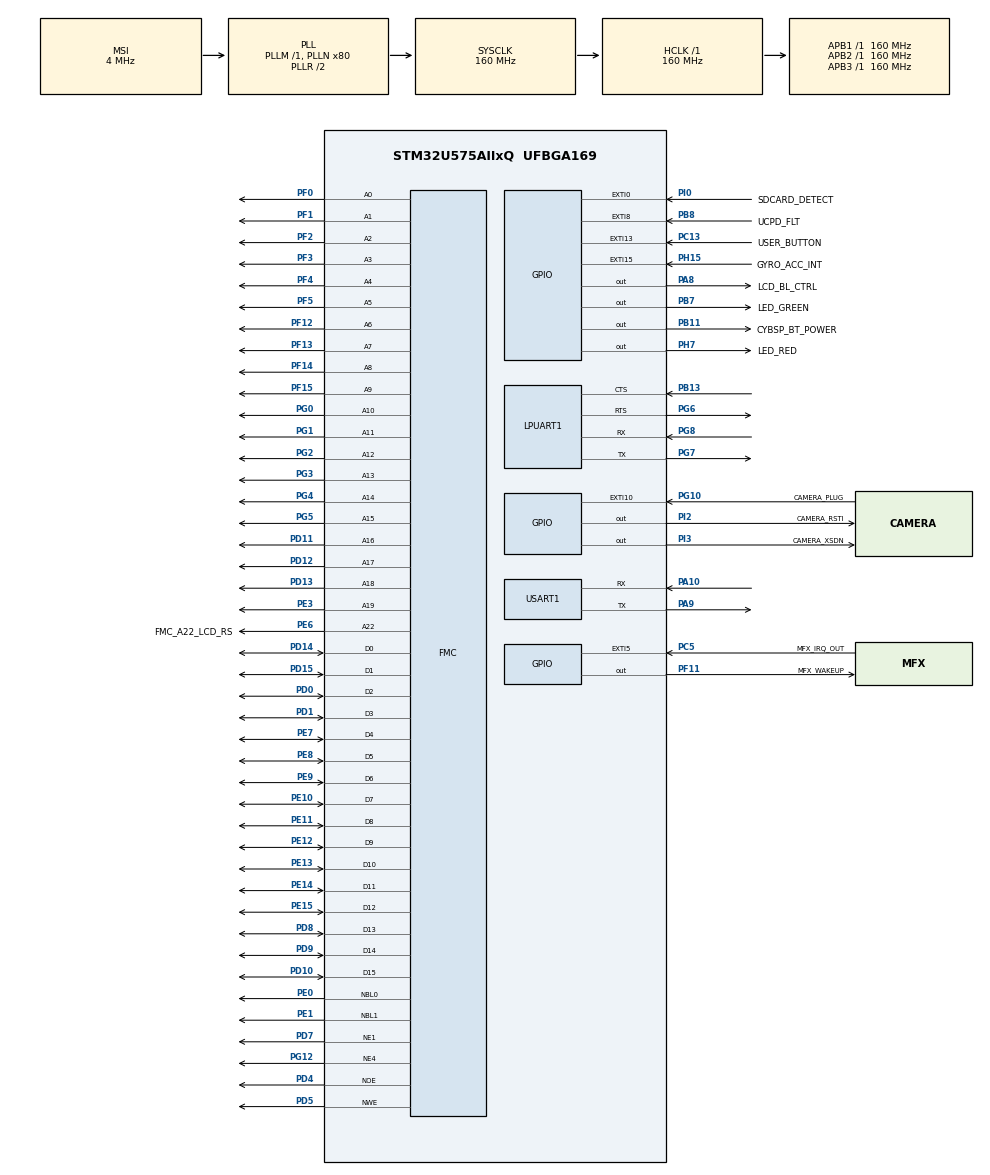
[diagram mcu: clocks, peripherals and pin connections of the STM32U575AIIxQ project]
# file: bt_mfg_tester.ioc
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CORTEX_M33_NS.userName=CORTEX_M33
GPDMA1.DESTINC_GPDMACH14=DMA_DINC_INCREMENTED
GPDMA1.DIRECTION_GPDMACH15=DMA_MEMORY_TO_PERIPH
GPDMA1.IPHANDLE_GPDMACH14-SIMPLEREQUEST_GPDMACH14=__NULL
GPDMA1.IPHANDLE_GPDMACH15-SIMPLEREQUEST_GPDMACH15=__NULL
GPDMA1.REQUEST_GPDMACH14=GPDMA1_REQUEST_LPUART1_RX
GPDMA1.REQUEST_GPDMACH15=GPDMA1_REQUEST_LPUART1_TX
GPDMA1.SRCINC_GPDMACH15=DMA_SINC_INCREMENTED
Infineon.AIROC-Wi-Fi-Bluetooth-STM32.1.8.0.CYBSP_BT_POWER=PB11
Infineon.AIROC-Wi-Fi-Bluetooth-STM32.1.8.0.CYBSP_BT_UART_CTS=PB13
Infineon.AIROC-Wi-Fi-Bluetooth-STM32.1.8.0.CYBSP_BT_UART_RTS=PG6
Infineon.AIROC-Wi-Fi-Bluetooth-STM32.1.8.0.CYBSP_BT_UART_RX=PG8
Infineon.AIROC-Wi-Fi-Bluetooth-STM32.1.8.0.CYBSP_BT_UART_TX=PG1
Infineon.AIROC-Wi-Fi-Bluetooth-STM32.1.8.0.ConnectivityCcWirelessJjBluetoothJjbtstack=BLEIiHARDFP
Infineon.AIROC-Wi-Fi-Bluetooth-STM32.1.8.0.ConnectivityCcWirelessJjBluetoothJjbtstackAaintegration=true
Infineon.AIROC-Wi-Fi-Bluetooth-STM32.1.8.0.ConnectivityCcWirelessJjPlatformJjabstractionAartos=FreeRTOS
Infineon.AIROC-Wi-Fi-Bluetooth-STM32.1.8.0.ConnectivityCcWirelessJjPlatformJjdevice=CYW43012
Infineon.AIROC-Wi-Fi-Bluetooth-STM32.1.8.0.ConnectivityCcWirelessJjPlatformJjmodule=MURATAAa1LV
Infineon.AIROC-Wi-Fi-Bluetooth-STM32.1.8.0.ConnectivityCcWirelessJjPlatformJjpal=true
Infineon.AIROC-Wi-Fi-Bluetooth-STM32.1.8.0.MiddlewareCcRTOSJjFreeRTOSJjcore=true
Infineon.AIROC-Wi-Fi-Bluetooth-STM32.1.8.0.MiddlewareCcRTOSJjFreeRTOSJjheap=HeapIi4
Mcu.Family=STM32U5
Mcu.Name=STM32U575AIIxQ
Mcu.Package=UFBGA169
NVIC.EXTI15_IRQn=true\:0\:0\:false\:false\:true\:false\:false\:true\:true
NVIC.GPDMA1_Channel14_IRQn=true\:0\:0\:false\:false\:true\:false\:true\:true\:true
NVIC.GPDMA1_Channel15_IRQn=true\:0\:0\:false\:false\:true\:false\:true\:true\:true
NVIC.LPUART1_IRQn=true\:0\:0\:false\:false\:true\:false\:false\:true\:true
NVIC.PriorityGroup=NVIC_PRIORITYGROUP_3
NVIC.TIM1_UP_IRQn=true\:7\:0\:false\:false\:true\:false\:false\:true\:true
NVIC.TimeBase=TIM1_UP_IRQn
NVIC.TimeBaseIP=TIM1
PA0.GPIO_Label=IBUS_SENSE
PA0.Signal=ADC1_IN5
PA1.PinAttribute=Free
PA1.Signal=TAMP_IN5
PA10.Mode=Asynchronous
PA10.Signal=USART1_RX
PA11.Signal=USB_OTG_FS_DM
PA12.Signal=USB_OTG_FS_DP
PA13\ (JTMS/SWDIO).Mode=Serial_Wire
PA13\ (JTMS/SWDIO).Signal=DEBUG_JTMS-SWDIO
PA14\ (JTCK/SWCLK).Mode=Serial_Wire
PA14\ (JTCK/SWCLK).Signal=DEBUG_JTCK-SWCLK
PA15\ (JTDI).PinAttribute=Free
PA15\ (JTDI).Signal=UCPD1_CC1
PA2.Signal=OCTOSPIM_P1_NCS
PA3.Signal=OCTOSPIM_P1_CLK
PA5.GPIO_Label=VBUS_SENSE
PA5.Signal=ADC1_IN10
PA6.Signal=OCTOSPIM_P1_IO3
PA7.Signal=OCTOSPIM_P1_IO2
PA8.GPIO_Label=LCD_BL_CTRL
PA8.Signal=GPIO_Output
PA9.Mode=Asynchronous
PA9.Signal=USART1_TX
PB0.PinAttribute=Free
PB0.Signal=OCTOSPIM_P1_IO1
PB1.Signal=OCTOSPIM_P1_IO0
PB10.GPIO_PuPdOD=GPIO_NOPULL
PB10.PinAttribute=Free
PB10.Signal=I2C2_SCL
PB11.GPIO_Label=CYBSP_BT_POWER
PB11.Signal=GPIO_Output
PB12.Signal=USART3_CK
PB13.Mode=CTS_RTS
PB13.Signal=LPUART1_CTS
PB14.Signal=TSC_G1_IO3
PB15.Signal=UCPD1_CC2
PB2.Signal=OCTOSPIM_P1_DQS
PB3\ (JTDO/TRACESWO).Signal=ADF1_CCK0
PB4\ (NJTRST).PinAttribute=Free
PB4\ (NJTRST).Signal=ADF1_SDI0
PB6.PinAttribute=Free
PB6.Signal=MDF1_SDI5
PB7.GPIO_Label=LED_GREEN
PB7.GPIO_Speed=GPIO_SPEED_FREQ_HIGH
PB7.Signal=GPIO_Output
PB8.GPIO_Label=UCPD_FLT
PB8.Signal=GPXTI8
PC0.PinAttribute=Free
PC0.Signal=OCTOSPIM_P1_IO7
PC1.Signal=OCTOSPIM_P1_IO4
PC10.Signal=SDMMC1_D2
PC11.PinAttribute=Free
PC11.Signal=SDMMC1_D3
PC12.Signal=SDMMC1_CK
PC13.GPIO_Label=USER_BUTTON
PC13.Signal=GPXTI13
PC14-OSC32_IN\ (PC14).Mode=LSE-External-Oscillator
PC14-OSC32_IN\ (PC14).Signal=RCC_OSC32_IN
PC15-OSC32_OUT\ (PC15).Mode=LSE-External-Oscillator
PC15-OSC32_OUT\ (PC15).Signal=RCC_OSC32_OUT
PC2.Signal=OCTOSPIM_P1_IO5
PC3.Signal=OCTOSPIM_P1_IO6
PC4.Signal=USART3_TX
PC5.GPIO_Label=MFX_IRQ_OUT
PC5.Signal=GPXTI5
PC6.PinAttribute=Free
PC6.Signal=TSC_G4_IO1
PC7.Signal=TSC_G4_IO2
PC8.Signal=SDMMC1_D0
PC9.Signal=SDMMC1_D1
PD0.Signal=FMC_D2_DA2
PD1.Signal=FMC_D3_DA3
PD10.PinAttribute=Free
PD10.Signal=FMC_D15_DA15
PD11.Signal=FMC_A16_CLE
PD12.PinAttribute=Free
PD12.Signal=FMC_A17_ALE
PD13.PinAttribute=Free
PD13.Signal=FMC_A18
PD14.Signal=FMC_D0_DA0
PD15.Signal=FMC_D1_DA1
PD2.Signal=SDMMC1_CMD
PD3.Signal=MDF1_SDI0
PD4.PinAttribute=Free
PD4.Signal=FMC_NOE
PD5.Signal=FMC_NWE
PD6.Signal=SAI1_SD_A
PD7.Mode=NorPsramChipSelect1_1
PD7.Signal=FMC_NE1
PD8.Signal=FMC_D13_DA13
PD9.Signal=FMC_D14_DA14
PE0.Signal=FMC_NBL0
PE1.Signal=FMC_NBL1
PE10.Signal=FMC_D7_DA7
PE11.Signal=FMC_D8_DA8
PE12.Signal=FMC_D9_DA9
PE13.Signal=FMC_D10_DA10
PE14.PinAttribute=Free
PE14.Signal=FMC_D11_DA11
PE15.Signal=FMC_D12_DA12
PE3.Signal=FMC_A19
PE4.Signal=MDF1_SDI3
PE6.GPIO_Label=FMC_A22_LCD_RS
PE6.Signal=FMC_A22
PE7.Signal=FMC_D4_DA4
PE8.PinAttribute=Free
PE8.Signal=FMC_D5_DA5
PE9.Signal=FMC_D6_DA6
PF0.Signal=FMC_A0
PF1.Signal=FMC_A1
PF10.Signal=MDF1_CCK1
PF11.GPIO_Label=MFX_WAKEUP
PF11.Signal=GPIO_Output
PF12.PinAttribute=Free
PF12.Signal=FMC_A6
PF13.Signal=FMC_A7
PF14.Signal=FMC_A8
PF15.Signal=FMC_A9
PF2.Signal=FMC_A2
PF3.PinAttribute=Free
PF3.Signal=FMC_A3
PF4.Signal=FMC_A4
PF5.PinAttribute=Free
PF5.Signal=FMC_A5
PF7.GPIO_Speed=GPIO_SPEED_FREQ_MEDIUM
PF7.PinAttribute=Free
PF7.Signal=SAI1_MCLK_B
PG0.Signal=FMC_A10
PG1.Signal=FMC_A11
PG10.GPIO_Label=CAMERA_PLUG
PG10.Signal=GPXTI10
PG12.Mode=NorPsramChipSelect4_2
PG12.Signal=FMC_NE4
PG2.PinAttribute=Free
PG2.Signal=FMC_A12
PG3.Signal=FMC_A13
PG4.PinAttribute=Free
PG4.Signal=FMC_A14
PG5.Signal=FMC_A15
PG6.Mode=CTS_RTS
PG6.Signal=LPUART1_RTS
PG7.Mode=Asynchronous
PG7.Signal=LPUART1_TX
PG8.Mode=Asynchronous
PG8.Signal=LPUART1_RX
PH0-OSC_IN\ (PH0).Mode=HSE-External-Oscillator
PH0-OSC_IN\ (PH0).Signal=RCC_OSC_IN
PH1-OSC_OUT\ (PH1).Mode=HSE-External-Oscillator
PH1-OSC_OUT\ (PH1).PinAttribute=Free
PH1-OSC_OUT\ (PH1).Signal=RCC_OSC_OUT
PH10.Signal=DCMI_D1
PH11.Signal=DCMI_D2
PH12.Signal=DCMI_D3
PH14.Signal=DCMI_D4
PH15.GPIO_Label=GYRO_ACC_INT
PH15.Signal=GPXTI15
PH5.Signal=DCMI_PIXCLK
PH7.GPIO_Label=LED_RED
PH7.GPIO_Speed=GPIO_SPEED_FREQ_HIGH
PH7.Signal=GPIO_Output
PH8.Signal=DCMI_HSYNC
PH9.Signal=DCMI_D0
PI0.GPIO_Label=SDCARD_DETECT
PI0.Signal=GPXTI0
PI2.GPIO_Label=CAMERA_RSTI
PI2.GPIO_Speed=GPIO_SPEED_FREQ_HIGH
PI2.Signal=GPIO_Output
PI3.GPIO_Label=CAMERA_XSDN
PI3.GPIO_Speed=GPIO_SPEED_FREQ_HIGH
PI3.Signal=GPIO_Output
PI4.Signal=DCMI_D5
PI5.PinAttribute=Free
PI5.Signal=DCMI_VSYNC
PI6.Signal=DCMI_D6
PI7.Signal=DCMI_D7
PWR.PowerMode=PWR_SMPS_SUPPLY
ProjectManager.HeapSize=0x2000
ProjectManager.StackSize=0x400
ProjectManager.TargetToolchain=STM32CubeIDE
RCC.ADCFreq_Value=16000000
RCC.AHBFreq_Value=160000000
RCC.APB1Freq_Value=160000000
RCC.APB1TimFreq_Value=160000000
RCC.APB2Freq_Value=160000000
RCC.APB2TimFreq_Value=160000000
RCC.APB3Freq_Value=160000000
RCC.CortexFreq_Value=160000000
RCC.DACCLockSelectionVirtual=RCC_DAC1CLKSOURCE_LSI
RCC.EPOD_VALUE=4000000
RCC.HCLKFreq_Value=160000000
RCC.HSE_VALUE=16000000
RCC.HSI48_VALUE=48000000
RCC.HSI_VALUE=16000000
RCC.LSIDIV_VALUE=32000
RCC.MSI_VALUE=4000000
RCC.PLL2FRACN=0
RCC.PLL2N=80
RCC.PLL3N=80
RCC.PLLFRACN=0
RCC.PLLN=80
RCC.SDMMCClockSelection=RCC_SDMMCCLKSOURCE_CLK48
RCC.SYSCLKFreq_VALUE=160000000
RCC.SYSCLKSource=RCC_SYSCLKSOURCE_PLLCLK
RCC.USBFreq_Value=48000000
RCC.VCOOutputFreq_Value=320000000
SH.FMC_A0.0=FMC_A0,20b-a1
SH.FMC_A1.0=FMC_A1,20b-a1
SH.FMC_A10.0=FMC_A10,20b-a1
SH.FMC_A11.0=FMC_A11,20b-a1
SH.FMC_A12.0=FMC_A12,20b-a1
SH.FMC_A13.0=FMC_A13,20b-a1
SH.FMC_A14.0=FMC_A14,20b-a1
SH.FMC_A15.0=FMC_A15,20b-a1
SH.FMC_A16_CLE.0=FMC_A16,20b-a1
SH.FMC_A17_ALE.0=FMC_A17,20b-a1
SH.FMC_A18.0=FMC_A18,20b-a1
SH.FMC_A19.0=FMC_A19,20b-a1
SH.FMC_A2.0=FMC_A2,20b-a1
SH.FMC_A22.0=FMC_A22,A22_2
SH.FMC_A3.0=FMC_A3,20b-a1
SH.FMC_A4.0=FMC_A4,20b-a1
SH.FMC_A5.0=FMC_A5,20b-a1
SH.FMC_A6.0=FMC_A6,20b-a1
SH.FMC_A7.0=FMC_A7,20b-a1
SH.FMC_A8.0=FMC_A8,20b-a1
SH.FMC_A9.0=FMC_A9,20b-a1
SH.FMC_D0_DA0.0=FMC_D0,16b-d1
SH.FMC_D0_DA0.1=FMC_D0,16b-d2
SH.FMC_D10_DA10.0=FMC_D10,16b-d1
SH.FMC_D10_DA10.1=FMC_D10,16b-d2
SH.FMC_D11_DA11.0=FMC_D11,16b-d1
SH.FMC_D11_DA11.1=FMC_D11,16b-d2
SH.FMC_D12_DA12.0=FMC_D12,16b-d1
SH.FMC_D12_DA12.1=FMC_D12,16b-d2
SH.FMC_D13_DA13.0=FMC_D13,16b-d1
SH.FMC_D13_DA13.1=FMC_D13,16b-d2
SH.FMC_D14_DA14.0=FMC_D14,16b-d1
SH.FMC_D14_DA14.1=FMC_D14,16b-d2
SH.FMC_D15_DA15.0=FMC_D15,16b-d1
SH.FMC_D15_DA15.1=FMC_D15,16b-d2
SH.FMC_D1_DA1.0=FMC_D1,16b-d1
SH.FMC_D1_DA1.1=FMC_D1,16b-d2
SH.FMC_D2_DA2.0=FMC_D2,16b-d1
SH.FMC_D2_DA2.1=FMC_D2,16b-d2
SH.FMC_D3_DA3.0=FMC_D3,16b-d1
SH.FMC_D3_DA3.1=FMC_D3,16b-d2
SH.FMC_D4_DA4.0=FMC_D4,16b-d1
SH.FMC_D4_DA4.1=FMC_D4,16b-d2
SH.FMC_D5_DA5.0=FMC_D5,16b-d1
SH.FMC_D5_DA5.1=FMC_D5,16b-d2
SH.FMC_D6_DA6.0=FMC_D6,16b-d1
SH.FMC_D6_DA6.1=FMC_D6,16b-d2
SH.FMC_D7_DA7.0=FMC_D7,16b-d1
SH.FMC_D7_DA7.1=FMC_D7,16b-d2
SH.FMC_D8_DA8.0=FMC_D8,16b-d1
SH.FMC_D8_DA8.1=FMC_D8,16b-d2
SH.FMC_D9_DA9.0=FMC_DA9
SH.FMC_D9_DA9.1=FMC_D9,16b-d1
SH.FMC_D9_DA9.2=FMC_D9,16b-d2
SH.FMC_NBL0.0=FMC_NBL0,2ByteEnable1
SH.FMC_NBL1.0=FMC_NBL1,2ByteEnable1
SH.FMC_NOE.0=FMC_NOE,Sram1
SH.FMC_NOE.1=FMC_NOE,Lcd2
SH.FMC_NWE.0=FMC_NWE,Sram1
SH.FMC_NWE.1=FMC_NWE,Lcd2
USART1.FIFOMode=FIFOMODE_ENABLE
USART1.VirtualMode-Asynchronous=VM_ASYNC
VP_GPDMA1_VS_GPDMACH14.Mode=SIMPLEREQUEST_GPDMACH14
VP_GPDMA1_VS_GPDMACH15.Mode=SIMPLEREQUEST_GPDMACH15
VP_ICACHE_VS_ICACHE.Mode=DirectMappedCache
VP_Infineon.AIROC-Wi-Fi-Bluetooth-STM32_VS_RTOSJjMiddleware_10.3.1_1.8.0.Mode=RTOSJjMiddleware
VP_Infineon.AIROC-Wi-Fi-Bluetooth-STM32_VS_WirelessJjConnectivity_1.8.0_1.8.0.Mode=WirelessJjConnectivity
VP_LPBAMQUEUE_VS_QUEUE.Mode=QUEUEMODE
VP_LPBAM_VS_SIG1.Mode=SmartRun
VP_LPBAM_VS_SIG4.Mode=LPDMA1
VP_PWR_VS_DBSignals.Mode=DisableDeadBatterySignals
VP_PWR_VS_LPOM.Mode=PowerOptimisation
VP_PWR_VS_SECSignals.Mode=Security/Privilege
VP_SYS_VS_tim1.Mode=TIM1
board=STM32U575I-EV

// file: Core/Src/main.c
/* USER CODE BEGIN Header */
/**
  ******************************************************************************
  * @file           : main.c
  * @brief          : Main program body
  ******************************************************************************
  * @attention
  *
  * <h2><center>&copy; Copyright (c) 2021 STMicroelectronics.
  * All rights reserved.</center></h2>
  *
  * This software component is licensed by ST under Ultimate Liberty license
  * SLA0044, the "License"; You may not use this file except in compliance with
  * the License. You may obtain a copy of the License at:
  *                             www.st.com/SLA0044
  *
  ******************************************************************************
  */
/* USER CODE END Header */
#include "main.h"

/* USER CODE BEGIN Includes */
#include "cmsis_os2.h"
#include "cyhal_sdio.h"
#include "stm32_cyhal_sdio_ex.h"
#include "stm32_cyhal_gpio_ex.h"

#include "wifi_bt_if.h"

#include "cybsp.h"
#include "cyhal.h"
#include "cyabs_rtos.h"

#include "wiced_bt_stack.h"
#include "wiced_memory.h"
#include "wiced_bt_dev.h"

#include "cybt_platform_trace.h"

#include "cy_utils.h"
#include "stdio.h"
/* USER CODE END Includes */

/* USER CODE BEGIN PD */
#ifndef HSEM_ID_0
#define HSEM_ID_0 (0U) /* HW semaphore 0*/
#endif
/* USER CODE END PD */

UART_HandleTypeDef hlpuart1;
UART_HandleTypeDef huart1;
DMA_HandleTypeDef handle_GPDMA1_Channel15;
DMA_HandleTypeDef handle_GPDMA1_Channel14;

SRAM_HandleTypeDef hsram1;
SRAM_HandleTypeDef hsram2;

/* USER CODE BEGIN PV */
/* Definitions for bt_mfgtest */
osThreadId_t bt_mfgtestHandle;
const osThreadAttr_t bt_mfgtest_attributes = {
  .name = "bt_mfgtest",
  .priority = (osPriority_t) osPriorityNormal,
  .stack_size = 2048 * 4
};
/* USER CODE END PV */

void SystemClock_Config(void);
static void SystemPower_Config(void);
static void MX_GPIO_Init(void);
static void MX_GPDMA1_Init(void);
static void MX_USART1_UART_Init(void);
static void MX_FMC_Init(void);
static void MX_LPUART1_UART_Init(void);
static void MX_ICACHE_Init(void);
/* USER CODE BEGIN PFP */
void bt_mfgtest_task(void *argument);
/* USER CODE END PFP */

int main(void)
{

  /* MCU Configuration--------------------------------------------------------*/

  /* Reset of all peripherals, Initializes the Flash interface and the Systick. */
  HAL_Init();

  /* Configure the system clock */
  SystemClock_Config();

  /* Configure the System Power */
  SystemPower_Config();

  /* Initialize all configured peripherals */
  MX_GPIO_Init();
  MX_GPDMA1_Init();
  MX_USART1_UART_Init();
  MX_FMC_Init();
  MX_LPUART1_UART_Init();
  MX_ICACHE_Init();
  /* USER CODE BEGIN 2 */
/* Init scheduler */
  osKernelInitialize();

  bt_mfgtestHandle = osThreadNew(bt_mfgtest_task, NULL, &bt_mfgtest_attributes);

  /* Start scheduler */
  osKernelStart();

  /* We should never get here as control is now taken by the scheduler */
  /* USER CODE END 2 */

  /* Infinite loop */
  while (1)
  {

  }
}

void SystemClock_Config(void)
{
  RCC_OscInitTypeDef RCC_OscInitStruct = {0};
  RCC_ClkInitTypeDef RCC_ClkInitStruct = {0};

  /** Configure the main internal regulator output voltage
  */
  if (HAL_PWREx_ControlVoltageScaling(PWR_REGULATOR_VOLTAGE_SCALE1) != HAL_OK)
  {
    Error_Handler();
  }

  /** Initializes the CPU, AHB and APB buses clocks
  */
  RCC_OscInitStruct.OscillatorType = RCC_OSCILLATORTYPE_MSI;
  RCC_OscInitStruct.MSIState = RCC_MSI_ON;
  RCC_OscInitStruct.MSICalibrationValue = RCC_MSICALIBRATION_DEFAULT;
  RCC_OscInitStruct.MSIClockRange = RCC_MSIRANGE_4;
  RCC_OscInitStruct.PLL.PLLState = RCC_PLL_ON;
  RCC_OscInitStruct.PLL.PLLSource = RCC_PLLSOURCE_MSI;
  RCC_OscInitStruct.PLL.PLLMBOOST = RCC_PLLMBOOST_DIV1;
  RCC_OscInitStruct.PLL.PLLM = 1;
  RCC_OscInitStruct.PLL.PLLN = 80;
  RCC_OscInitStruct.PLL.PLLP = 2;
  RCC_OscInitStruct.PLL.PLLQ = 2;
  RCC_OscInitStruct.PLL.PLLR = 2;
  RCC_OscInitStruct.PLL.PLLRGE = RCC_PLLVCIRANGE_0;
  RCC_OscInitStruct.PLL.PLLFRACN = 0;
  if (HAL_RCC_OscConfig(&RCC_OscInitStruct) != HAL_OK)
  {
    Error_Handler();
  }

  /** Initializes the CPU, AHB and APB buses clocks
  */
  RCC_ClkInitStruct.ClockType = RCC_CLOCKTYPE_HCLK|RCC_CLOCKTYPE_SYSCLK
                              |RCC_CLOCKTYPE_PCLK1|RCC_CLOCKTYPE_PCLK2
                              |RCC_CLOCKTYPE_PCLK3;
  RCC_ClkInitStruct.SYSCLKSource = RCC_SYSCLKSOURCE_PLLCLK;
  RCC_ClkInitStruct.AHBCLKDivider = RCC_SYSCLK_DIV1;
  RCC_ClkInitStruct.APB1CLKDivider = RCC_HCLK_DIV1;
  RCC_ClkInitStruct.APB2CLKDivider = RCC_HCLK_DIV1;
  RCC_ClkInitStruct.APB3CLKDivider = RCC_HCLK_DIV1;

  if (HAL_RCC_ClockConfig(&RCC_ClkInitStruct, FLASH_LATENCY_4) != HAL_OK)
  {
    Error_Handler();
  }
}

/**
  * @brief Power Configuration
  * @retval None
  */
static void SystemPower_Config(void)
{
  HAL_PWREx_EnableVddIO2();

  /*
   * Disable the internal Pull-Up in Dead Battery pins of UCPD peripheral
   */
  HAL_PWREx_DisableUCPDDeadBattery();

  /*
   * Switch to SMPS regulator instead of LDO
   */
  if (HAL_PWREx_ConfigSupply(PWR_SMPS_SUPPLY) != HAL_OK)
  {
    Error_Handler();
  }
}

static void MX_GPDMA1_Init(void)
{

  /* Peripheral clock enable */
  __HAL_RCC_GPDMA1_CLK_ENABLE();

  /* GPDMA1 interrupt Init */
    HAL_NVIC_SetPriority(GPDMA1_Channel14_IRQn, 0, 0);
    HAL_NVIC_EnableIRQ(GPDMA1_Channel14_IRQn);
    HAL_NVIC_SetPriority(GPDMA1_Channel15_IRQn, 0, 0);
    HAL_NVIC_EnableIRQ(GPDMA1_Channel15_IRQn);

}

static void MX_ICACHE_Init(void)
{

  /** Enable instruction cache in 1-way (direct mapped cache)
  */
  if (HAL_ICACHE_ConfigAssociativityMode(ICACHE_1WAY) != HAL_OK)
  {
    Error_Handler();
  }
  if (HAL_ICACHE_Enable() != HAL_OK)
  {
    Error_Handler();
  }

}

static void MX_LPUART1_UART_Init(void)
{

  hlpuart1.Instance = LPUART1;
  hlpuart1.Init.BaudRate = 209700;
  hlpuart1.Init.WordLength = UART_WORDLENGTH_8B;
  hlpuart1.Init.StopBits = UART_STOPBITS_1;
  hlpuart1.Init.Parity = UART_PARITY_NONE;
  hlpuart1.Init.Mode = UART_MODE_TX_RX;
  hlpuart1.Init.HwFlowCtl = UART_HWCONTROL_RTS_CTS;
  hlpuart1.Init.OneBitSampling = UART_ONE_BIT_SAMPLE_DISABLE;
  hlpuart1.AdvancedInit.AdvFeatureInit = UART_ADVFEATURE_NO_INIT;
  hlpuart1.FifoMode = UART_FIFOMODE_DISABLE;
  if (HAL_UART_Init(&hlpuart1) != HAL_OK)
  {
    Error_Handler();
  }
  if (HAL_UARTEx_SetTxFifoThreshold(&hlpuart1, UART_TXFIFO_THRESHOLD_1_8) != HAL_OK)
  {
    Error_Handler();
  }
  if (HAL_UARTEx_SetRxFifoThreshold(&hlpuart1, UART_RXFIFO_THRESHOLD_1_8) != HAL_OK)
  {
    Error_Handler();
  }
  if (HAL_UARTEx_DisableFifoMode(&hlpuart1) != HAL_OK)
  {
    Error_Handler();
  }

}

static void MX_USART1_UART_Init(void)
{

  huart1.Instance = USART1;
  huart1.Init.BaudRate = 115200;
  huart1.Init.WordLength = UART_WORDLENGTH_8B;
  huart1.Init.StopBits = UART_STOPBITS_1;
  huart1.Init.Parity = UART_PARITY_NONE;
  huart1.Init.Mode = UART_MODE_TX_RX;
  huart1.Init.HwFlowCtl = UART_HWCONTROL_NONE;
  huart1.Init.OverSampling = UART_OVERSAMPLING_16;
  huart1.Init.OneBitSampling = UART_ONE_BIT_SAMPLE_DISABLE;
  huart1.Init.ClockPrescaler = UART_PRESCALER_DIV1;
  huart1.AdvancedInit.AdvFeatureInit = UART_ADVFEATURE_NO_INIT;
  if (HAL_UART_Init(&huart1) != HAL_OK)
  {
    Error_Handler();
  }
  if (HAL_UARTEx_SetTxFifoThreshold(&huart1, UART_TXFIFO_THRESHOLD_1_8) != HAL_OK)
  {
    Error_Handler();
  }
  if (HAL_UARTEx_SetRxFifoThreshold(&huart1, UART_RXFIFO_THRESHOLD_1_8) != HAL_OK)
  {
    Error_Handler();
  }
  if (HAL_UARTEx_EnableFifoMode(&huart1) != HAL_OK)
  {
    Error_Handler();
  }

}

/* FMC initialization function */
static void MX_FMC_Init(void)
{

  FMC_NORSRAM_TimingTypeDef Timing = {0};

  /** Perform the SRAM1 memory initialization sequence
  */
  hsram1.Instance = FMC_NORSRAM_DEVICE;
  hsram1.Extended = FMC_NORSRAM_EXTENDED_DEVICE;
  /* hsram1.Init */
  hsram1.Init.NSBank = FMC_NORSRAM_BANK1;
  hsram1.Init.DataAddressMux = FMC_DATA_ADDRESS_MUX_DISABLE;
  hsram1.Init.MemoryType = FMC_MEMORY_TYPE_SRAM;
  hsram1.Init.MemoryDataWidth = FMC_NORSRAM_MEM_BUS_WIDTH_16;
  hsram1.Init.BurstAccessMode = FMC_BURST_ACCESS_MODE_DISABLE;
  hsram1.Init.WaitSignalPolarity = FMC_WAIT_SIGNAL_POLARITY_LOW;
  hsram1.Init.WaitSignalActive = FMC_WAIT_TIMING_BEFORE_WS;
  hsram1.Init.WriteOperation = FMC_WRITE_OPERATION_DISABLE;
  hsram1.Init.WaitSignal = FMC_WAIT_SIGNAL_DISABLE;
  hsram1.Init.ExtendedMode = FMC_EXTENDED_MODE_DISABLE;
  hsram1.Init.AsynchronousWait = FMC_ASYNCHRONOUS_WAIT_DISABLE;
  hsram1.Init.WriteBurst = FMC_WRITE_BURST_DISABLE;
  hsram1.Init.ContinuousClock = FMC_CONTINUOUS_CLOCK_SYNC_ONLY;
  hsram1.Init.WriteFifo = FMC_WRITE_FIFO_ENABLE;
  hsram1.Init.NBLSetupTime = 0;
  hsram1.Init.PageSize = FMC_PAGE_SIZE_NONE;
  hsram1.Init.MaxChipSelectPulse = DISABLE;
  /* Timing */
  Timing.AddressSetupTime = 15;
  Timing.AddressHoldTime = 15;
  Timing.DataSetupTime = 255;
  Timing.DataHoldTime = 0;
  Timing.BusTurnAroundDuration = 15;
  Timing.CLKDivision = 16;
  Timing.DataLatency = 17;
  Timing.AccessMode = FMC_ACCESS_MODE_A;
  /* ExtTiming */

  if (HAL_SRAM_Init(&hsram1, &Timing, NULL) != HAL_OK)
  {
    Error_Handler( );
  }

  /** Perform the SRAM2 memory initialization sequence
  */
  hsram2.Instance = FMC_NORSRAM_DEVICE;
  hsram2.Extended = FMC_NORSRAM_EXTENDED_DEVICE;
  /* hsram2.Init */
  hsram2.Init.NSBank = FMC_NORSRAM_BANK4;
  hsram2.Init.DataAddressMux = FMC_DATA_ADDRESS_MUX_DISABLE;
  hsram2.Init.MemoryType = FMC_MEMORY_TYPE_SRAM;
  hsram2.Init.MemoryDataWidth = FMC_NORSRAM_MEM_BUS_WIDTH_16;
  hsram2.Init.BurstAccessMode = FMC_BURST_ACCESS_MODE_DISABLE;
  hsram2.Init.WaitSignalPolarity = FMC_WAIT_SIGNAL_POLARITY_LOW;
  hsram2.Init.WaitSignalActive = FMC_WAIT_TIMING_BEFORE_WS;
  hsram2.Init.WriteOperation = FMC_WRITE_OPERATION_ENABLE;
  hsram2.Init.WaitSignal = FMC_WAIT_SIGNAL_DISABLE;
  hsram2.Init.ExtendedMode = FMC_EXTENDED_MODE_DISABLE;
  hsram2.Init.AsynchronousWait = FMC_ASYNCHRONOUS_WAIT_DISABLE;
  hsram2.Init.WriteBurst = FMC_WRITE_BURST_DISABLE;
  hsram2.Init.ContinuousClock = FMC_CONTINUOUS_CLOCK_SYNC_ONLY;
  hsram2.Init.WriteFifo = FMC_WRITE_FIFO_ENABLE;
  hsram2.Init.NBLSetupTime = 0;
  hsram2.Init.PageSize = FMC_PAGE_SIZE_NONE;
  hsram2.Init.MaxChipSelectPulse = DISABLE;
  /* Timing */
  Timing.AddressSetupTime = 15;
  Timing.AddressHoldTime = 15;
  Timing.DataSetupTime = 255;
  Timing.DataHoldTime = 0;
  Timing.BusTurnAroundDuration = 15;
  Timing.CLKDivision = 16;
  Timing.DataLatency = 17;
  Timing.AccessMode = FMC_ACCESS_MODE_A;
  /* ExtTiming */

  if (HAL_SRAM_Init(&hsram2, &Timing, NULL) != HAL_OK)
  {
    Error_Handler( );
  }

}

static void MX_GPIO_Init(void)
{
  GPIO_InitTypeDef GPIO_InitStruct = {0};

  /* GPIO Ports Clock Enable */
  __HAL_RCC_GPIOI_CLK_ENABLE();
  __HAL_RCC_GPIOC_CLK_ENABLE();
  __HAL_RCC_GPIOA_CLK_ENABLE();
  __HAL_RCC_GPIOH_CLK_ENABLE();
  __HAL_RCC_GPIOB_CLK_ENABLE();
  __HAL_RCC_GPIOD_CLK_ENABLE();
  __HAL_RCC_GPIOE_CLK_ENABLE();
  __HAL_RCC_GPIOG_CLK_ENABLE();
  __HAL_RCC_GPIOF_CLK_ENABLE();

  /*Configure GPIO pin Output Level */
  HAL_GPIO_WritePin(GPIOI, CAMERA_XSDN_Pin|CAMERA_RSTI_Pin, GPIO_PIN_RESET);

  /*Configure GPIO pin Output Level */
  HAL_GPIO_WritePin(GPIOB, LED_GREEN_Pin|CYBSP_BT_POWER_Pin, GPIO_PIN_RESET);

  /*Configure GPIO pin Output Level */
  HAL_GPIO_WritePin(LED_RED_GPIO_Port, LED_RED_Pin, GPIO_PIN_RESET);

  /*Configure GPIO pin Output Level */
  HAL_GPIO_WritePin(LCD_BL_CTRL_GPIO_Port, LCD_BL_CTRL_Pin, GPIO_PIN_RESET);

  /*Configure GPIO pin Output Level */
  HAL_GPIO_WritePin(MFX_WAKEUP_GPIO_Port, MFX_WAKEUP_Pin, GPIO_PIN_RESET);

  /*Configure GPIO pins : PI6 PI5 PI4 PI7 */
  GPIO_InitStruct.Pin = GPIO_PIN_6|GPIO_PIN_5|GPIO_PIN_4|GPIO_PIN_7;
  GPIO_InitStruct.Mode = GPIO_MODE_AF_PP;
  GPIO_InitStruct.Pull = GPIO_NOPULL;
  GPIO_InitStruct.Speed = GPIO_SPEED_FREQ_LOW;
  GPIO_InitStruct.Alternate = GPIO_AF10_DCMI;
  HAL_GPIO_Init(GPIOI, &GPIO_InitStruct);

  /*Configure GPIO pins : PC11 PC10 PC12 PC9
                           PC8 */
  GPIO_InitStruct.Pin = GPIO_PIN_11|GPIO_PIN_10|GPIO_PIN_12|GPIO_PIN_9
                          |GPIO_PIN_8;
  GPIO_InitStruct.Mode = GPIO_MODE_AF_PP;
  GPIO_InitStruct.Pull = GPIO_NOPULL;
  GPIO_InitStruct.Speed = GPIO_SPEED_FREQ_HIGH;
  GPIO_InitStruct.Alternate = GPIO_AF12_SDMMC1;
  HAL_GPIO_Init(GPIOC, &GPIO_InitStruct);

  /*Configure GPIO pins : PA15 IBUS_SENSE_Pin VBUS_SENSE_Pin */
  GPIO_InitStruct.Pin = GPIO_PIN_15|IBUS_SENSE_Pin|VBUS_SENSE_Pin;
  GPIO_InitStruct.Mode = GPIO_MODE_ANALOG;
  GPIO_InitStruct.Pull = GPIO_NOPULL;
  HAL_GPIO_Init(GPIOA, &GPIO_InitStruct);

  /*Configure GPIO pin : GYRO_ACC_INT_Pin */
  GPIO_InitStruct.Pin = GYRO_ACC_INT_Pin;
  GPIO_InitStruct.Mode = GPIO_MODE_IT_RISING;
  GPIO_InitStruct.Pull = GPIO_NOPULL;
  HAL_GPIO_Init(GYRO_ACC_INT_GPIO_Port, &GPIO_InitStruct);

  /*Configure GPIO pin : PB6 */
  GPIO_InitStruct.Pin = GPIO_PIN_6;
  GPIO_InitStruct.Mode = GPIO_MODE_AF_PP;
  GPIO_InitStruct.Pull = GPIO_NOPULL;
  GPIO_InitStruct.Speed = GPIO_SPEED_FREQ_LOW;
  GPIO_InitStruct.Alternate = GPIO_AF6_MDF1;
  HAL_GPIO_Init(GPIOB, &GPIO_InitStruct);

  /*Configure GPIO pins : PB4 PB3 */
  GPIO_InitStruct.Pin = GPIO_PIN_4|GPIO_PIN_3;
  GPIO_InitStruct.Mode = GPIO_MODE_AF_PP;
  GPIO_InitStruct.Pull = GPIO_NOPULL;
  GPIO_InitStruct.Speed = GPIO_SPEED_FREQ_LOW;
  GPIO_InitStruct.Alternate = GPIO_AF3_ADF1;
  HAL_GPIO_Init(GPIOB, &GPIO_InitStruct);

  /*Configure GPIO pin : PD6 */
  GPIO_InitStruct.Pin = GPIO_PIN_6;
  GPIO_InitStruct.Mode = GPIO_MODE_AF_PP;
  GPIO_InitStruct.Pull = GPIO_NOPULL;
  GPIO_InitStruct.Speed = GPIO_SPEED_FREQ_LOW;
  GPIO_InitStruct.Alternate = GPIO_AF13_SAI1;
  HAL_GPIO_Init(GPIOD, &GPIO_InitStruct);

  /*Configure GPIO pin : SDCARD_DETECT_Pin */
  GPIO_InitStruct.Pin = SDCARD_DETECT_Pin;
  GPIO_InitStruct.Mode = GPIO_MODE_IT_RISING;
  GPIO_InitStruct.Pull = GPIO_NOPULL;
  HAL_GPIO_Init(SDCARD_DETECT_GPIO_Port, &GPIO_InitStruct);

  /*Configure GPIO pins : PH12 PH14 PH10 PH11
                           PH8 PH9 PH5 */
  GPIO_InitStruct.Pin = GPIO_PIN_12|GPIO_PIN_14|GPIO_PIN_10|GPIO_PIN_11
                          |GPIO_PIN_8|GPIO_PIN_9|GPIO_PIN_5;
  GPIO_InitStruct.Mode = GPIO_MODE_AF_PP;
  GPIO_InitStruct.Pull = GPIO_NOPULL;
  GPIO_InitStruct.Speed = GPIO_SPEED_FREQ_LOW;
  GPIO_InitStruct.Alternate = GPIO_AF10_DCMI;
  HAL_GPIO_Init(GPIOH, &GPIO_InitStruct);

  /*Configure GPIO pin : PE4 */
  GPIO_InitStruct.Pin = GPIO_PIN_4;
  GPIO_InitStruct.Mode = GPIO_MODE_AF_PP;
  GPIO_InitStruct.Pull = GPIO_NOPULL;
  GPIO_InitStruct.Speed = GPIO_SPEED_FREQ_LOW;
  GPIO_InitStruct.Alternate = GPIO_AF6_MDF1;
  HAL_GPIO_Init(GPIOE, &GPIO_InitStruct);

  /*Configure GPIO pin : CAMERA_PLUG_Pin */
  GPIO_InitStruct.Pin = CAMERA_PLUG_Pin;
  GPIO_InitStruct.Mode = GPIO_MODE_IT_RISING;
  GPIO_InitStruct.Pull = GPIO_NOPULL;
  HAL_GPIO_Init(CAMERA_PLUG_GPIO_Port, &GPIO_InitStruct);

  /*Configure GPIO pin : PD3 */
  GPIO_InitStruct.Pin = GPIO_PIN_3;
  GPIO_InitStruct.Mode = GPIO_MODE_AF_PP;
  GPIO_InitStruct.Pull = GPIO_NOPULL;
  GPIO_InitStruct.Speed = GPIO_SPEED_FREQ_LOW;
  GPIO_InitStruct.Alternate = GPIO_AF6_MDF1;
  HAL_GPIO_Init(GPIOD, &GPIO_InitStruct);

  /*Configure GPIO pins : CAMERA_XSDN_Pin CAMERA_RSTI_Pin */
  GPIO_InitStruct.Pin = CAMERA_XSDN_Pin|CAMERA_RSTI_Pin;
  GPIO_InitStruct.Mode = GPIO_MODE_OUTPUT_PP;
  GPIO_InitStruct.Pull = GPIO_NOPULL;
  GPIO_InitStruct.Speed = GPIO_SPEED_FREQ_HIGH;
  HAL_GPIO_Init(GPIOI, &GPIO_InitStruct);

  /*Configure GPIO pins : USER_BUTTON_Pin MFX_IRQ_OUT_Pin */
  GPIO_InitStruct.Pin = USER_BUTTON_Pin|MFX_IRQ_OUT_Pin;
  GPIO_InitStruct.Mode = GPIO_MODE_IT_RISING;
  GPIO_InitStruct.Pull = GPIO_NOPULL;
  HAL_GPIO_Init(GPIOC, &GPIO_InitStruct);

  /*Configure GPIO pin : UCPD_FLT_Pin */
  GPIO_InitStruct.Pin = UCPD_FLT_Pin;
  GPIO_InitStruct.Mode = GPIO_MODE_IT_RISING;
  GPIO_InitStruct.Pull = GPIO_NOPULL;
  HAL_GPIO_Init(UCPD_FLT_GPIO_Port, &GPIO_InitStruct);

  /*Configure GPIO pin : LED_GREEN_Pin */
  GPIO_InitStruct.Pin = LED_GREEN_Pin;
  GPIO_InitStruct.Mode = GPIO_MODE_OUTPUT_PP;
  GPIO_InitStruct.Pull = GPIO_NOPULL;
  GPIO_InitStruct.Speed = GPIO_SPEED_FREQ_HIGH;
  HAL_GPIO_Init(LED_GREEN_GPIO_Port, &GPIO_InitStruct);

  /*Configure GPIO pin : PD2 */
  GPIO_InitStruct.Pin = GPIO_PIN_2;
  GPIO_InitStruct.Mode = GPIO_MODE_AF_PP;
  GPIO_InitStruct.Pull = GPIO_NOPULL;
  GPIO_InitStruct.Speed = GPIO_SPEED_FREQ_HIGH;
  GPIO_InitStruct.Alternate = GPIO_AF12_SDMMC1;
  HAL_GPIO_Init(GPIOD, &GPIO_InitStruct);

  /*Configure GPIO pin : LED_RED_Pin */
  GPIO_InitStruct.Pin = LED_RED_Pin;
  GPIO_InitStruct.Mode = GPIO_MODE_OUTPUT_PP;
  GPIO_InitStruct.Pull = GPIO_NOPULL;
  GPIO_InitStruct.Speed = GPIO_SPEED_FREQ_HIGH;
  HAL_GPIO_Init(LED_RED_GPIO_Port, &GPIO_InitStruct);

  /*Configure GPIO pins : PA12 PA11 */
  GPIO_InitStruct.Pin = GPIO_PIN_12|GPIO_PIN_11;
  GPIO_InitStruct.Mode = GPIO_MODE_AF_PP;
  GPIO_InitStruct.Pull = GPIO_NOPULL;
  GPIO_InitStruct.Speed = GPIO_SPEED_FREQ_LOW;
  GPIO_InitStruct.Alternate = GPIO_AF10_USB;
  HAL_GPIO_Init(GPIOA, &GPIO_InitStruct);

  /*Configure GPIO pin : PF7 */
  GPIO_InitStruct.Pin = GPIO_PIN_7;
  GPIO_InitStruct.Mode = GPIO_MODE_AF_PP;
  GPIO_InitStruct.Pull = GPIO_NOPULL;
  GPIO_InitStruct.Speed = GPIO_SPEED_FREQ_MEDIUM;
  GPIO_InitStruct.Alternate = GPIO_AF13_SAI1;
  HAL_GPIO_Init(GPIOF, &GPIO_InitStruct);

  /*Configure GPIO pin : LCD_BL_CTRL_Pin */
  GPIO_InitStruct.Pin = LCD_BL_CTRL_Pin;
  GPIO_InitStruct.Mode = GPIO_MODE_OUTPUT_PP;
  GPIO_InitStruct.Pull = GPIO_NOPULL;
  GPIO_InitStruct.Speed = GPIO_SPEED_FREQ_LOW;
  HAL_GPIO_Init(LCD_BL_CTRL_GPIO_Port, &GPIO_InitStruct);

  /*Configure GPIO pins : PC7 PC6 */
  GPIO_InitStruct.Pin = GPIO_PIN_7|GPIO_PIN_6;
  GPIO_InitStruct.Mode = GPIO_MODE_AF_PP;
  GPIO_InitStruct.Pull = GPIO_NOPULL;
  GPIO_InitStruct.Speed = GPIO_SPEED_FREQ_LOW;
  GPIO_InitStruct.Alternate = GPIO_AF9_TSC;
  HAL_GPIO_Init(GPIOC, &GPIO_InitStruct);

  /*Configure GPIO pin : PF10 */
  GPIO_InitStruct.Pin = GPIO_PIN_10;
  GPIO_InitStruct.Mode = GPIO_MODE_AF_PP;
  GPIO_InitStruct.Pull = GPIO_NOPULL;
  GPIO_InitStruct.Speed = GPIO_SPEED_FREQ_LOW;
  GPIO_InitStruct.Alternate = GPIO_AF6_MDF1;
  HAL_GPIO_Init(GPIOF, &GPIO_InitStruct);

  /*Configure GPIO pin : PC0 */
  GPIO_InitStruct.Pin = GPIO_PIN_0;
  GPIO_InitStruct.Mode = GPIO_MODE_AF_PP;
  GPIO_InitStruct.Pull = GPIO_NOPULL;
  GPIO_InitStruct.Speed = GPIO_SPEED_FREQ_VERY_HIGH;
  GPIO_InitStruct.Alternate = GPIO_AF3_OCTOSPI1;
  HAL_GPIO_Init(GPIOC, &GPIO_InitStruct);

  /*Configure GPIO pins : PC1 PC2 PC3 */
  GPIO_InitStruct.Pin = GPIO_PIN_1|GPIO_PIN_2|GPIO_PIN_3;
  GPIO_InitStruct.Mode = GPIO_MODE_AF_PP;
  GPIO_InitStruct.Pull = GPIO_NOPULL;
  GPIO_InitStruct.Speed = GPIO_SPEED_FREQ_VERY_HIGH;
  GPIO_InitStruct.Alternate = GPIO_AF10_OCTOSPI1;
  HAL_GPIO_Init(GPIOC, &GPIO_InitStruct);

  /*Configure GPIO pins : PA7 PA2 PA3 PA6 */
  GPIO_InitStruct.Pin = GPIO_PIN_7|GPIO_PIN_2|GPIO_PIN_3|GPIO_PIN_6;
  GPIO_InitStruct.Mode = GPIO_MODE_AF_PP;
  GPIO_InitStruct.Pull = GPIO_NOPULL;
  GPIO_InitStruct.Speed = GPIO_SPEED_FREQ_VERY_HIGH;
  GPIO_InitStruct.Alternate = GPIO_AF10_OCTOSPI1;
  HAL_GPIO_Init(GPIOA, &GPIO_InitStruct);

  /*Configure GPIO pins : PB0 PB2 PB1 */
  GPIO_InitStruct.Pin = GPIO_PIN_0|GPIO_PIN_2|GPIO_PIN_1;
  GPIO_InitStruct.Mode = GPIO_MODE_AF_PP;
  GPIO_InitStruct.Pull = GPIO_NOPULL;
  GPIO_InitStruct.Speed = GPIO_SPEED_FREQ_VERY_HIGH;
  GPIO_InitStruct.Alternate = GPIO_AF10_OCTOSPI1;
  HAL_GPIO_Init(GPIOB, &GPIO_InitStruct);

  /*Configure GPIO pin : PB10 */
  GPIO_InitStruct.Pin = GPIO_PIN_10;
  GPIO_InitStruct.Mode = GPIO_MODE_AF_OD;
  GPIO_InitStruct.Pull = GPIO_NOPULL;
  GPIO_InitStruct.Speed = GPIO_SPEED_FREQ_LOW;
  GPIO_InitStruct.Alternate = GPIO_AF4_I2C2;
  HAL_GPIO_Init(GPIOB, &GPIO_InitStruct);

  /*Configure GPIO pin : PC4 */
  GPIO_InitStruct.Pin = GPIO_PIN_4;
  GPIO_InitStruct.Mode = GPIO_MODE_AF_PP;
  GPIO_InitStruct.Pull = GPIO_NOPULL;
  GPIO_InitStruct.Speed = GPIO_SPEED_FREQ_LOW;
  GPIO_InitStruct.Alternate = GPIO_AF7_USART3;
  HAL_GPIO_Init(GPIOC, &GPIO_InitStruct);

  /*Configure GPIO pin : CYBSP_BT_POWER_Pin */
  GPIO_InitStruct.Pin = CYBSP_BT_POWER_Pin;
  GPIO_InitStruct.Mode = GPIO_MODE_OUTPUT_PP;
  GPIO_InitStruct.Pull = GPIO_NOPULL;
  GPIO_InitStruct.Speed = GPIO_SPEED_FREQ_LOW;
  HAL_GPIO_Init(CYBSP_BT_POWER_GPIO_Port, &GPIO_InitStruct);

  /*Configure GPIO pin : PB12 */
  GPIO_InitStruct.Pin = GPIO_PIN_12;
  GPIO_InitStruct.Mode = GPIO_MODE_AF_PP;
  GPIO_InitStruct.Pull = GPIO_NOPULL;
  GPIO_InitStruct.Speed = GPIO_SPEED_FREQ_LOW;
  GPIO_InitStruct.Alternate = GPIO_AF7_USART3;
  HAL_GPIO_Init(GPIOB, &GPIO_InitStruct);

  /*Configure GPIO pin : PB15 */
  GPIO_InitStruct.Pin = GPIO_PIN_15;
  GPIO_InitStruct.Mode = GPIO_MODE_ANALOG;
  GPIO_InitStruct.Pull = GPIO_NOPULL;
  HAL_GPIO_Init(GPIOB, &GPIO_InitStruct);

  /*Configure GPIO pin : MFX_WAKEUP_Pin */
  GPIO_InitStruct.Pin = MFX_WAKEUP_Pin;
  GPIO_InitStruct.Mode = GPIO_MODE_OUTPUT_PP;
  GPIO_InitStruct.Pull = GPIO_NOPULL;
  GPIO_InitStruct.Speed = GPIO_SPEED_FREQ_LOW;
  HAL_GPIO_Init(MFX_WAKEUP_GPIO_Port, &GPIO_InitStruct);

  /*Configure GPIO pin : PB14 */
  GPIO_InitStruct.Pin = GPIO_PIN_14;
  GPIO_InitStruct.Mode = GPIO_MODE_AF_PP;
  GPIO_InitStruct.Pull = GPIO_NOPULL;
  GPIO_InitStruct.Speed = GPIO_SPEED_FREQ_LOW;
  GPIO_InitStruct.Alternate = GPIO_AF9_TSC;
  HAL_GPIO_Init(GPIOB, &GPIO_InitStruct);

  /* EXTI interrupt init*/
  HAL_NVIC_SetPriority(EXTI15_IRQn, 0, 0);
  HAL_NVIC_EnableIRQ(EXTI15_IRQn);

}

/* USER CODE BEGIN 4 */

//Stack OverFlow error handling
void vApplicationStackOverflowHook( TaskHandle_t xTask,
                                    char * pcTaskName )
{
    printf( "ERROR: stack overflow with task %s\r\n", pcTaskName );
    portDISABLE_INTERRUPTS();

    /* Unused Parameters */
    ( void ) xTask;

    /* Loop forever */
    for( ; ; )
    {
    }
}

/* USER CODE END 4 */

void HAL_TIM_PeriodElapsedCallback(TIM_HandleTypeDef *htim)
{
  if (htim->Instance == TIM1) {
    HAL_IncTick();
  }
}

void Error_Handler(void)
{
  __disable_irq();
  while (1)
  {
  }
}
